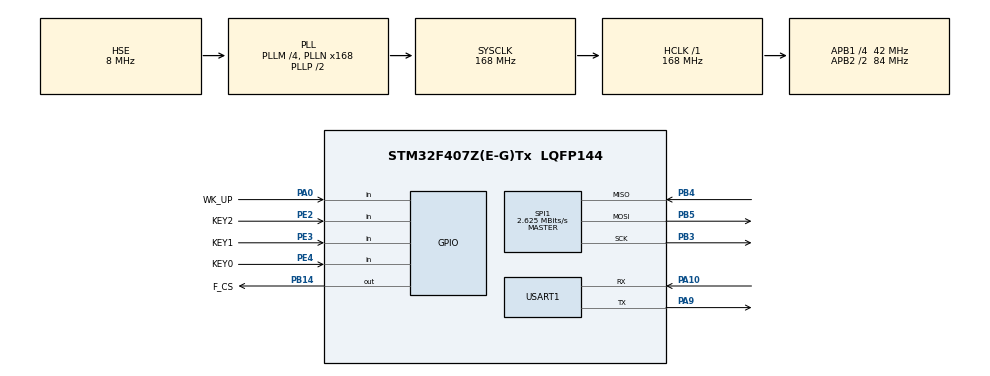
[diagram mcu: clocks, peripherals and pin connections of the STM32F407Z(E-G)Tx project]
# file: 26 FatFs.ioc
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FATFS._CODE_PAGE=936
FATFS._MAX_SS=4096
Mcu.Family=STM32F4
Mcu.Name=STM32F407Z(E-G)Tx
Mcu.Package=LQFP144
NVIC.PriorityGroup=NVIC_PRIORITYGROUP_4
PA0-WKUP.GPIO_Label=WK_UP
PA0-WKUP.GPIO_PuPd=GPIO_PULLDOWN
PA0-WKUP.Signal=GPIO_Input
PA10.Mode=Asynchronous
PA10.Signal=USART1_RX
PA13.Mode=Serial_Wire
PA13.Signal=SYS_JTMS-SWDIO
PA14.Mode=Serial_Wire
PA14.Signal=SYS_JTCK-SWCLK
PA9.Mode=Asynchronous
PA9.Signal=USART1_TX
PB14.GPIO_Label=F_CS
PB14.GPIO_Speed=GPIO_SPEED_FREQ_VERY_HIGH
PB14.PinState=GPIO_PIN_SET
PB14.Signal=GPIO_Output
PB3.Mode=Full_Duplex_Master
PB3.Signal=SPI1_SCK
PB4.Mode=Full_Duplex_Master
PB4.Signal=SPI1_MISO
PB5.Mode=Full_Duplex_Master
PB5.Signal=SPI1_MOSI
PC14-OSC32_IN.Mode=LSE-External-Oscillator
PC14-OSC32_IN.Signal=RCC_OSC32_IN
PC15-OSC32_OUT.Mode=LSE-External-Oscillator
PC15-OSC32_OUT.Signal=RCC_OSC32_OUT
PE2.GPIO_Label=KEY2
PE2.GPIO_PuPd=GPIO_PULLUP
PE2.Signal=GPIO_Input
PE3.GPIO_Label=KEY1
PE3.GPIO_PuPd=GPIO_PULLUP
PE3.Signal=GPIO_Input
PE4.GPIO_Label=KEY0
PE4.GPIO_PuPd=GPIO_PULLUP
PE4.Signal=GPIO_Input
PH0-OSC_IN.Mode=HSE-External-Oscillator
PH0-OSC_IN.Signal=RCC_OSC_IN
PH1-OSC_OUT.Mode=HSE-External-Oscillator
PH1-OSC_OUT.Signal=RCC_OSC_OUT
ProjectManager.HeapSize=0x0200
ProjectManager.StackSize=0x2000
ProjectManager.TargetToolchain=MDK-ARM V5.32
RCC.48MHZClocksFreq_Value=84000000
RCC.AHBFreq_Value=168000000
RCC.APB1CLKDivider=RCC_HCLK_DIV4
RCC.APB1Freq_Value=42000000
RCC.APB1TimFreq_Value=84000000
RCC.APB2CLKDivider=RCC_HCLK_DIV2
RCC.APB2Freq_Value=84000000
RCC.APB2TimFreq_Value=168000000
RCC.CortexFreq_Value=168000000
RCC.HCLKFreq_Value=168000000
RCC.HSE_VALUE=8000000
RCC.HSI_VALUE=16000000
RCC.PLLM=4
RCC.PLLN=168
RCC.PLLSourceVirtual=RCC_PLLSOURCE_HSE
RCC.SYSCLKFreq_VALUE=168000000
RCC.SYSCLKSource=RCC_SYSCLKSOURCE_PLLCLK
RCC.VCOOutputFreq_Value=336000000
RTC.Hours=5
RTC.Minutes=1
RTC.Year=20
SPI1.BaudRatePrescaler=SPI_BAUDRATEPRESCALER_32
SPI1.CalculateBaudRate=2.625 MBits/s
SPI1.Direction=SPI_DIRECTION_2LINES
SPI1.Mode=SPI_MODE_MASTER
SPI1.VirtualType=VM_MASTER
USART1.VirtualMode=VM_ASYNC
VP_FATFS_VS_Generic.Mode=User_defined
VP_RTC_VS_RTC_Activate.Mode=RTC_Enabled
VP_RTC_VS_RTC_Calendar.Mode=RTC_Calendar
board=custom

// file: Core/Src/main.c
/* USER CODE BEGIN Header */
/**
  ******************************************************************************
  * @file           : main.c
  * @brief          : Main program body
  ******************************************************************************
  * @attention
  *
  * Copyright (c) 2024 STMicroelectronics.
  * All rights reserved.
  *
  * This software is licensed under terms that can be found in the LICENSE file
  * in the root directory of this software component.
  * If no LICENSE file comes with this software, it is provided AS-IS.
  *
  ******************************************************************************
  */
/* USER CODE END Header */
#include "main.h"
#include "fatfs.h"
#include "rtc.h"
#include "spi.h"
#include "usart.h"
#include "gpio.h"

/* USER CODE BEGIN Includes */
#include "stdio.h"
#include "file_operate.h"
#include "w25flash.h"
/* USER CODE END Includes */

/* USER CODE BEGIN PTD */
#ifdef __GNUC__
#define PUTCHAR_PROTOTYPE int __io_putchar(int ch)
#else
#define PUTCHAR_PROTOTYPE int fputc(int ch, FILE *f)
#endif
PUTCHAR_PROTOTYPE
{
    HAL_UART_Transmit(&huart1, (uint8_t *)&ch, 1, HAL_MAX_DELAY);
    return ch;
}
/* USER CODE END PTD */

void SystemClock_Config(void);

/* USER CODE BEGIN 0 */
UINT fnum;                          /* 文件成功读写数量 */
BYTE ReadBuffer[1024] = {0};        /* 读缓冲区 */
BYTE WriteBuffer[]= "Hello World!\n";
/* USER CODE END 0 */

int main(void)
{

  /* MCU Configuration--------------------------------------------------------*/

  /* Reset of all peripherals, Initializes the Flash interface and the Systick. */
  HAL_Init();

  /* Configure the system clock */
  SystemClock_Config();

  /* Initialize all configured peripherals */
  MX_GPIO_Init();
  MX_SPI1_Init();
  MX_USART1_UART_Init();
  MX_FATFS_Init();
  MX_RTC_Init();
  /* USER CODE BEGIN 2 */
	printf("Reset,ID:0x%x\r\n",Flash_ReadID());
	Mount_FatFs();
	FatFs_GetDiskInfo();

  /* USER CODE END 2 */

  /* Infinite loop */
  while (1)
  {

    /* USER CODE BEGIN 3 */
		/*按键WK_UP被按下*/
		if(HAL_GPIO_ReadPin(WK_UP_GPIO_Port,WK_UP_Pin) == GPIO_PIN_SET)
		{
			HAL_Delay(50);
			if(HAL_GPIO_ReadPin(WK_UP_GPIO_Port,WK_UP_Pin) == GPIO_PIN_SET)
			{
				FatFs_ScanDir("0:/");
				while(HAL_GPIO_ReadPin(WK_UP_GPIO_Port,WK_UP_Pin));
			}
		}

		/*按键KEY2被按下*/
		if(HAL_GPIO_ReadPin(KEY2_GPIO_Port,KEY2_Pin) == GPIO_PIN_RESET)
		{
			HAL_Delay(50);
			if(HAL_GPIO_ReadPin(KEY2_GPIO_Port,KEY2_Pin) == GPIO_PIN_RESET)
			{
				FatFs_WriteTXTFile("test.txt",2016,11,15);
				while(!HAL_GPIO_ReadPin(KEY2_GPIO_Port,KEY2_Pin));
			}
		}

		/*按键KEY1被按下*/
		if(HAL_GPIO_ReadPin(KEY1_GPIO_Port,KEY1_Pin) == GPIO_PIN_RESET)
		{
			HAL_Delay(50);
			if(HAL_GPIO_ReadPin(KEY1_GPIO_Port,KEY1_Pin) == GPIO_PIN_RESET)
			{
				FatFs_ReadTXTFile("test.txt");
				FatFs_GetFileInfo("test.txt");
				while(!HAL_GPIO_ReadPin(KEY1_GPIO_Port,KEY1_Pin));
			}
		}

		/*按键KEY0被按下*/
		if(HAL_GPIO_ReadPin(KEY0_GPIO_Port,KEY0_Pin) == GPIO_PIN_RESET)
		{
			HAL_Delay(50);
			if(HAL_GPIO_ReadPin(KEY0_GPIO_Port,KEY0_Pin) == GPIO_PIN_RESET)
			{
				FatFs_DeleteFile("test.txt");
				while(!HAL_GPIO_ReadPin(KEY0_GPIO_Port,KEY0_Pin));
			}
		}
  }
  /* USER CODE END 3 */
}

void SystemClock_Config(void)
{
  RCC_OscInitTypeDef RCC_OscInitStruct = {0};
  RCC_ClkInitTypeDef RCC_ClkInitStruct = {0};

  /** Configure the main internal regulator output voltage
  */
  __HAL_RCC_PWR_CLK_ENABLE();
  __HAL_PWR_VOLTAGESCALING_CONFIG(PWR_REGULATOR_VOLTAGE_SCALE1);

  /** Initializes the RCC Oscillators according to the specified parameters
  * in the RCC_OscInitTypeDef structure.
  */
  RCC_OscInitStruct.OscillatorType = RCC_OSCILLATORTYPE_LSI|RCC_OSCILLATORTYPE_HSE;
  RCC_OscInitStruct.HSEState = RCC_HSE_ON;
  RCC_OscInitStruct.LSIState = RCC_LSI_ON;
  RCC_OscInitStruct.PLL.PLLState = RCC_PLL_ON;
  RCC_OscInitStruct.PLL.PLLSource = RCC_PLLSOURCE_HSE;
  RCC_OscInitStruct.PLL.PLLM = 4;
  RCC_OscInitStruct.PLL.PLLN = 168;
  RCC_OscInitStruct.PLL.PLLP = RCC_PLLP_DIV2;
  RCC_OscInitStruct.PLL.PLLQ = 4;
  if (HAL_RCC_OscConfig(&RCC_OscInitStruct) != HAL_OK)
  {
    Error_Handler();
  }

  /** Initializes the CPU, AHB and APB buses clocks
  */
  RCC_ClkInitStruct.ClockType = RCC_CLOCKTYPE_HCLK|RCC_CLOCKTYPE_SYSCLK
                              |RCC_CLOCKTYPE_PCLK1|RCC_CLOCKTYPE_PCLK2;
  RCC_ClkInitStruct.SYSCLKSource = RCC_SYSCLKSOURCE_PLLCLK;
  RCC_ClkInitStruct.AHBCLKDivider = RCC_SYSCLK_DIV1;
  RCC_ClkInitStruct.APB1CLKDivider = RCC_HCLK_DIV4;
  RCC_ClkInitStruct.APB2CLKDivider = RCC_HCLK_DIV2;

  if (HAL_RCC_ClockConfig(&RCC_ClkInitStruct, FLASH_LATENCY_5) != HAL_OK)
  {
    Error_Handler();
  }
}

void Error_Handler(void)
{
  __disable_irq();
  while (1)
  {
  }
}
